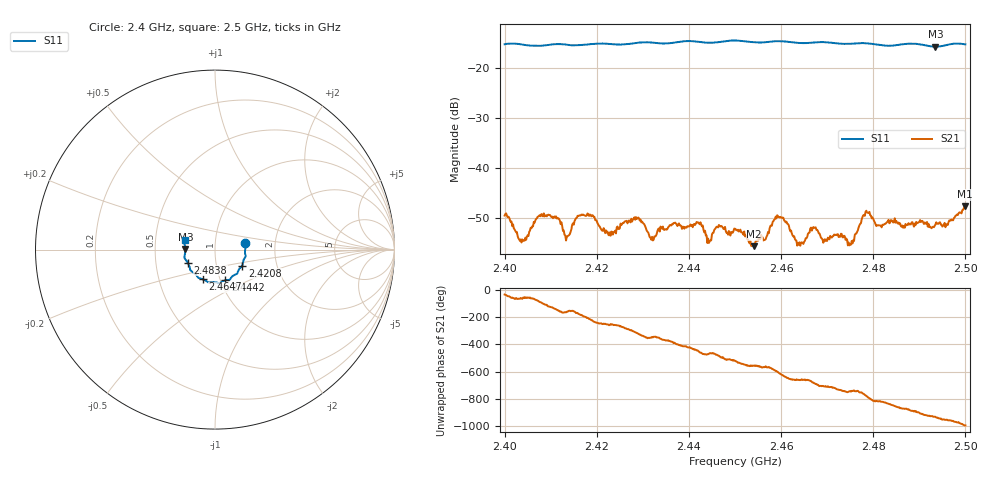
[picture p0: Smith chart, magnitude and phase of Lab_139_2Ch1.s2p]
# Hz S RI R
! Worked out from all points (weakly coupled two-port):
!   601 points, 2.4 GHz to 2.5 GHz, reference 50 ohm
!   highest |S21| = -47.66 dB at 2.4998 GHz (marker M1); lowest = -55.6 dB at 2.4542 GHz (marker M2)
!   lowest |S11| = -15.7 dB at 2.4935 GHz (marker M3), VSWR 1.39, Z = 35.9 + j0.126 ohm
!   |S11| at or under -10 dB: start of sweep to end of sweep
!   S12 and S22 are empty: the file has one direction only
!   S11 on the Smith chart (normalised r, x): 2.4 GHz: 1.40, +0.11; 2.4208 GHz: 1.33, -0.25; 2.4442 GHz: 1.06, -0.37; 2.4647 GHz: 0.83, -0.28; 2.4838 GHz: 0.73, -0.11; 2.5 GHz: 0.71, +0.08
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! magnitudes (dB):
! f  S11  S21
! 2.4 GHz  -15.2  -49.5
! 2.4038 GHz  -15.2  -54.3
! 2.4077 GHz  -15.5  -49.4
! 2.4135 GHz  -15.3  -53.7
! 2.4167 GHz  -15.3  -49.3
! 2.4208 GHz  -15.1  -52.1
! 2.4287 GHz  -14.9  -50.2
! 2.4333 GHz  -15.0  -52.2
! 2.442 GHz  -14.7  -50.8
! 2.4442 GHz  -14.9  -54.1
! 2.45 GHz  -14.4  -52.1
! 2.4542 GHz  -14.8  -55.6
! 2.4593 GHz  -14.6  -49.6
! 2.4647 GHz  -15.0  -55.0
! 2.4667 GHz  -14.9  -52.5
! 2.475 GHz  -15.1  -55.3
! 2.4783 GHz  -15.0  -48.7
! 2.4833 GHz  -15.5  -50.3
! 2.4838 GHz  -15.5  -50.4
! 2.4935 GHz  -15.7  -51.3
! 2.4998 GHz  -15.2  -47.7
! 2.5 GHz  -15.2  -48.1
